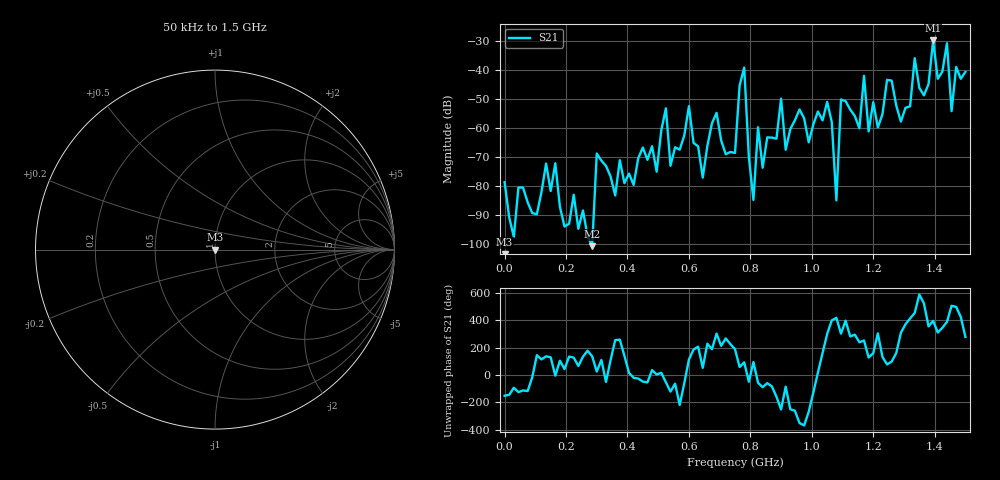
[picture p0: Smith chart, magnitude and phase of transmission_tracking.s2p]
! Created with skrf 1.8.0 (http://scikit-rf.org).
# Hz S RI R 50.0
!freq ReS11 ImS11 ReS21 ImS21 ReS12 ImS12 ReS22 ImS22
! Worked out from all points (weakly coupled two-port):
!   101 points, 50 kHz to 1.5 GHz, reference 50 ohm
!   highest |S21| = -29.70 dB at 1.395 GHz (marker M1); lowest = -100.9 dB at 285 MHz (marker M2)
!   lowest |S11| = - dB at 50 kHz (marker M3), VSWR 1.00, Z = 50 + j0 ohm
!   |S11| at or under -10 dB: start of sweep to end of sweep
!   S12 and S22 are empty: the file has one direction only
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50000  0 0  -0.000102 -5.46e-05  0 0  0 0
2.550415e8  0 0  -2.55e-05 2.75e-05  0 0  0 0
2.850405e8  0 0  -6.55e-06 6.25e-06  0 0  0 0
5.10033e8  0 0  0.000876 0.000248  0 0  0 0
7.50025e8  0 0  -0.000367 -4.99e-05  0 0  0 0
7.80024e8  0 0  -0.000384 0.0111  0 0  0 0
8.10023e8  0 0  -3.9e-06 5.69e-05  0 0  0 0
8.250225e8  0 0  0.000555 -0.000869  0 0  0 0
8.40022e8  0 0  1.66e-06 -0.000206  0 0  0 0
9.0002e8  0 0  -0.000991 0.00307  0 0  0 0
9.150195e8  0 0  3e-05 -0.000421  0 0  0 0
1.005016e9  0 0  -0.00071 -0.000912  0 0  0 0
1.050015e9  0 0  0.00136 -0.00248  0 0  0 0
1.080014e9  0 0  3.07e-05 4.69e-05  0 0  0 0
1.095014e9  0 0  0.00162 -0.00266  0 0  0 0
1.18501e9  0 0  -0.00053 0.000695  0 0  0 0
1.260008e9  0 0  -0.000848 0.00657  0 0  0 0
1.290007e9  0 0  0.00079 -0.00102  0 0  0 0
1.395004e9  0 0  0.0269 0.0187  0 0  0 0
1.440002e9  0 0  0.0261 0.0134  0 0  0 0
1.455002e9  0 0  -0.0016 0.00113  0 0  0 0
1.5e9  0 0  0.00127 -0.00928  0 0  0 0
